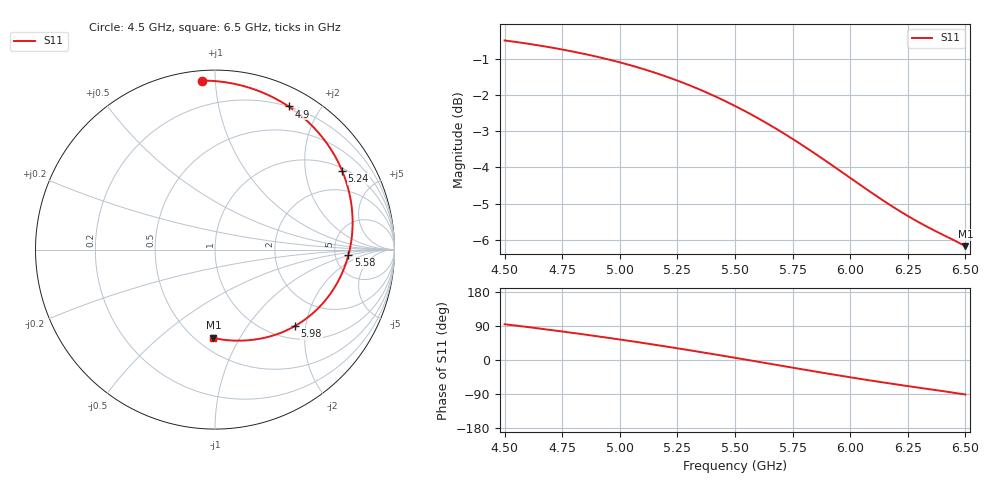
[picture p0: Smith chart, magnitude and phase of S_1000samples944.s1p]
! TOUCHSTONE file generated by CST MICROWAVE STUDIO
! Date and time: Sat Oct 29 21:24:40 2022
! Project name: L.cst
! Parameters = {Di=1.27; Epsilon_r=1.56; InnerDiameter=1.27; Length=2; Lf=10; Lg=60; OuterConductorThickness=0.2921; OuterDiameter=3.6; Wf=3; Wp=41.2; de=1.5; df=6.8; g=0.8; gx=2.1622; gy=4.71817; h=2.34; hf=1.524; px=11.3697; py=12.8531; w=9.7; wx=9.20747; wy=8.13491}
! Header version: 2018
! Port assignment regex: !\s*Touchstone port\s*([0-9]+)\s*=\s*(CST MWS port|CST DS port)\s*([0-9]+|Zmin|Zmax)\s*\(\"(.*)\"\)(\s*mode\s*([0-9]+))?.*
! Touchstone port assignment:
! Touchstone port 1 = CST MWS port 1 ("")
# GHz S DB R 50
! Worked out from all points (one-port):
!   101 points, 4.5 GHz to 6.5 GHz, reference 50 ohm
!   lowest |S11| = -6.2 dB at 6.5 GHz (marker M1), VSWR 2.93, Z = 30.1 - j39 ohm
!   |S11| at or under -10 dB: nowhere
!   S11 on the Smith chart (normalised r, x): 4.5 GHz: 0.05, +0.93; 4.9 GHz: 0.20, +1.62; 5.24 GHz: 1.10, +3.16; 5.58 GHz: 6.66, -0.96; 5.98 GHz: 1.27, -1.75; 6.5 GHz: 0.60, -0.78
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4.5  -0.50 94.4
4.58  -0.57 88.4
4.64  -0.63 83.9
4.76  -0.76 74.4
4.84  -0.86 67.9
4.9  -0.95 62.8
5  -1.10 54.1
5.12  -1.32 43.2
5.18  -1.45 37.6
5.24  -1.58 31.8
5.26  -1.63 29.9
5.32  -1.78 24.0
5.38  -1.94 18.0
5.44  -2.12 11.9
5.5  -2.31 5.8
5.58  -2.57 -2.5
5.66  -2.86 -10.8
5.76  -3.26 -21.2
5.82  -3.50 -27.4
5.88  -3.76 -33.6
5.98  -4.20 -43.6
6  -4.29 -45.6
6.06  -4.56 -51.4
6.12  -4.82 -57.0
6.18  -5.07 -62.5
6.26  -5.38 -69.7
6.38  -5.79 -80.2
6.5  -6.17 -91.0
